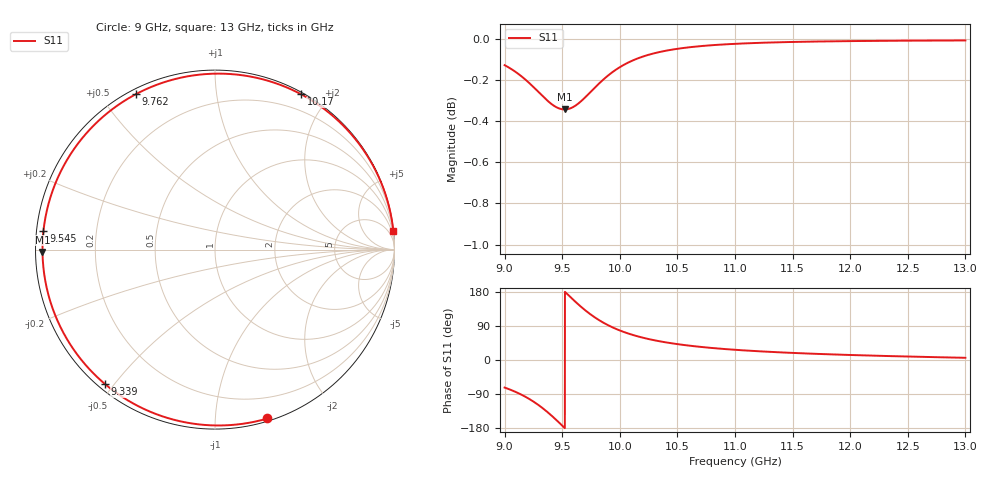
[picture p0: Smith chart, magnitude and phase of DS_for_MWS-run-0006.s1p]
! TOUCHSTONE file generated by CST DESIGN STUDIO
! Date and time: Tue Feb  4 17:45:04 2025
! Project name: C:\Work\MatlabApps\UnitCellOptimizationMatlab\CST\unitcell.cst
! Tree item: Tasks\Sweep1\SPara1\S-Parameters
! Header version: 2024
! Port assignment regex: !\s*Touchstone port\s*([0-9]+)\s*=\s*(CST MWS port|CST DES external port|CST DES block port)\s*(.+)\s* \(\"(.*)\"\)(\s*mode\s*([0-9]+))?.*
! Touchstone port assignment:
! Touchstone port 1 = CST DES external port 1 ("")
# GHz S MA R 50
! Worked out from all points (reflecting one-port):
!   4001 points, 9 GHz to 13 GHz, reference 50 ohm
!   lowest |S11| = -0.3 dB at 9.521 GHz (marker M1), VSWR 50.57, Z = 0.989 - j0.333 ohm
!   phase of S11 starts at -73 deg and turns -281 deg over the sweep
!   S11 on the Smith chart (normalised r, x): 9 GHz: 0.02, -1.36; 9.339 GHz: 0.02, -0.47; 9.545 GHz: 0.02, +0.05; 9.762 GHz: 0.02, +0.61; 10.17 GHz: 0.02, +1.70; 13 GHz: 0, +20
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9  0.9854 -72.7
9.093  0.9817 -83.9
9.198  0.9765 -100.0
9.272  0.972 -114.1
9.339  0.9679 -129.2
9.383  0.9654 -140.3
9.428  0.9632 -152.4
9.465  0.962 -162.9
9.5  0.9613 -173.1
9.521  0.9612 -179.2
9.545  0.9614 173.7
9.599  0.9627 158.1
9.659  0.9654 141.6
9.71  0.9684 128.7
9.762  0.9717 116.9
9.812  0.9748 106.7
9.866  0.978 97.0
10  0.9842 77.9
10.083  0.9871 68.9
10.173  0.9895 60.9
10.322  0.9923 50.7
10.5  0.9944 41.9
10.722  0.996 33.9
11  0.9972 26.9
11.5  0.9982 18.7
12  0.9987 13.2
12.5  0.999 9.1
13  0.9991 5.8
